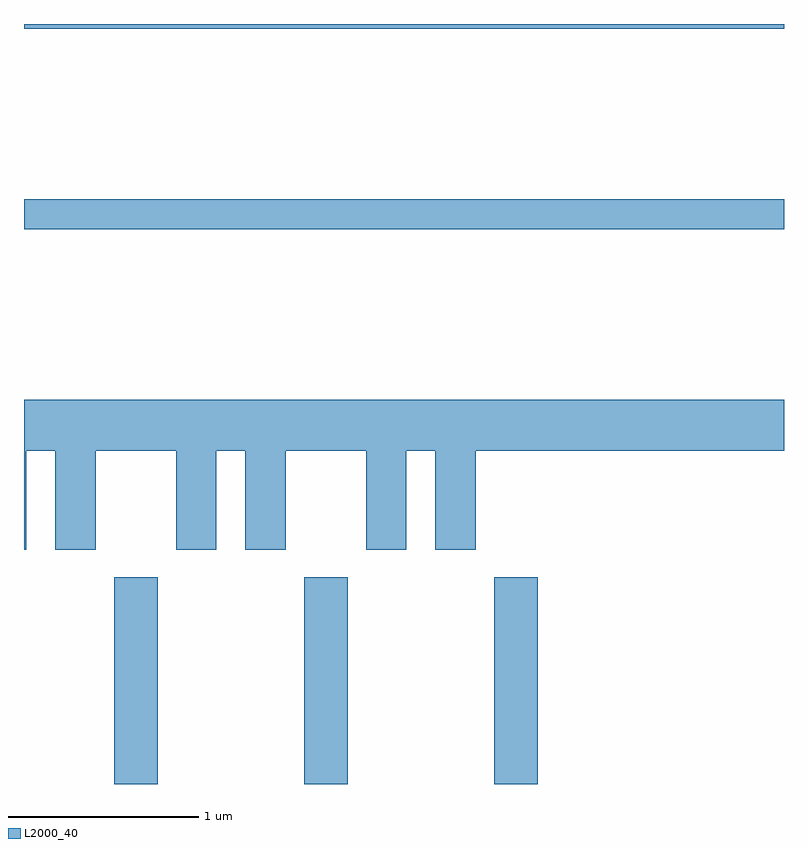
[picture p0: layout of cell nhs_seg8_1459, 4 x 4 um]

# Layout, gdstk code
import gdstk
lib = gdstk.Library(unit=1e-6, precision=1e-09)
def R(c, l, rs):  # rectangles x0, y0, x1, y1
    for r in rs: c.add(gdstk.rectangle(r[:2], r[2:], *l))
def A(c, l, x, y, w, h, nx, ny, dx, dy):  # array of equal rectangles
    R(c, l, [(x+i*dx, y+j*dy, x+i*dx+w, y+j*dy+h) for i in range(nx) for j in range(ny)])
def P(c, l, *ps):  # polygons
    for p in ps: c.add(gdstk.Polygon(p, *l))
L2000_40 = (2000, 40)

nhs_seg8_1459 = lib.new_cell('nhs_seg8_1459')
A(nhs_seg8_1459, L2000_40, 228.086, 1932.342, 0.228, 1.087, 3, 1, 1, 0)
R(nhs_seg8_1459, L2000_40, [(227.611,1935.261,231.611,1935.419), (227.611,1936.316,231.611,1936.342)])
P(nhs_seg8_1459, L2000_40, [(227.624,1934.096),(227.776,1934.096),(227.776,1933.576),(227.989,1933.576),(227.989,1934.096),(228.411,1934.096),(228.411,1933.576),(228.624,1933.576),(228.624,1934.096),(228.776,1934.096),(228.776,1933.576),(228.989,1933.576),(228.989,1934.096),(229.411,1934.096),(229.411,1933.576),(229.624,1933.576),(229.624,1934.096),(229.776,1934.096),(229.776,1933.576),(229.989,1933.576),(229.989,1934.096),(231.611,1934.096),(231.611,1934.364),(227.611,1934.364),(227.611,1933.576),(227.624,1933.576)])

lib.write_gds('nhs_seg8_1459.gds')
